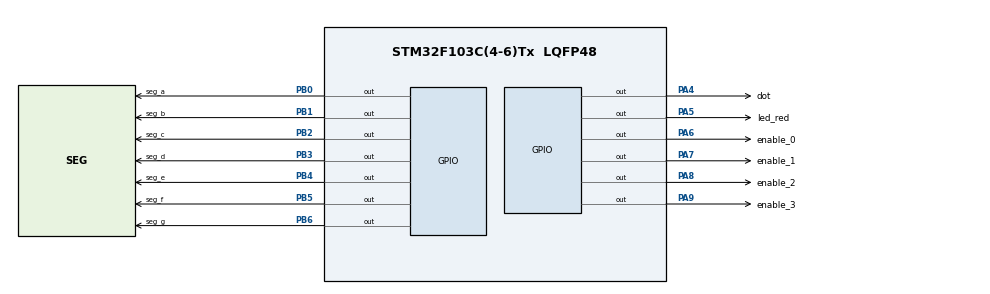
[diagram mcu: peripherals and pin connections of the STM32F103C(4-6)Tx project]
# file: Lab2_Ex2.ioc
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Mcu.Family=STM32F1
Mcu.Name=STM32F103C(4-6)Tx
Mcu.Package=LQFP48
NVIC.PriorityGroup=NVIC_PRIORITYGROUP_4
NVIC.TIM2_IRQn=true\:0\:0\:false\:false\:true\:true\:true
PA4.GPIO_Label=dot
PA4.Signal=GPIO_Output
PA5.GPIO_Label=led_red
PA5.Signal=GPIO_Output
PA6.GPIO_Label=enable_0
PA6.Signal=GPIO_Output
PA7.GPIO_Label=enable_1
PA7.Signal=GPIO_Output
PA8.GPIO_Label=enable_2
PA8.Signal=GPIO_Output
PA9.GPIO_Label=enable_3
PA9.Signal=GPIO_Output
PB0.GPIO_Label=seg_a
PB0.Signal=GPIO_Output
PB1.GPIO_Label=seg_b
PB1.Signal=GPIO_Output
PB2.GPIO_Label=seg_c
PB2.Signal=GPIO_Output
PB3.GPIO_Label=seg_d
PB3.Signal=GPIO_Output
PB4.GPIO_Label=seg_e
PB4.Signal=GPIO_Output
PB5.GPIO_Label=seg_f
PB5.Signal=GPIO_Output
PB6.GPIO_Label=seg_g
PB6.Signal=GPIO_Output
ProjectManager.HeapSize=0x200
ProjectManager.StackSize=0x400
ProjectManager.TargetToolchain=STM32CubeIDE
RCC.APB1Freq_Value=8000000
RCC.APB2Freq_Value=8000000
TIM2.Period=10 - 1
TIM2.Prescaler=8000 - 1
VP_SYS_VS_ND.Mode=No_Debug
VP_TIM2_VS_ClockSourceINT.Mode=Internal
board=custom

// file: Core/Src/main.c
/* USER CODE BEGIN Header */
/**
  ******************************************************************************
  * @file           : main.c
  * @brief          : Main program body
  ******************************************************************************
  * @attention
  *
  * <h2><center>&copy; Copyright (c) 2022 STMicroelectronics.
  * All rights reserved.</center></h2>
  *
  * This software component is licensed by ST under BSD 3-Clause license,
  * the "License"; You may not use this file except in compliance with the
  * License. You may obtain a copy of the License at:
  *                        opensource.org/licenses/BSD-3-Clause
  *
  ******************************************************************************
  */
/* USER CODE END Header */
#include "main.h"

/* USER CODE BEGIN Includes */
#include "software_timer.h"
/* USER CODE END Includes */

TIM_HandleTypeDef htim2;

void SystemClock_Config(void);
static void MX_GPIO_Init(void);
static void MX_TIM2_Init(void);
/* USER CODE BEGIN PFP */

void display7SEG(int num,
		GPIO_TypeDef* a_seg_GPIO_Port, uint16_t a_seg_Pin,
		GPIO_TypeDef* b_seg_GPIO_Port, uint16_t b_seg_Pin,
		GPIO_TypeDef* c_seg_GPIO_Port, uint16_t c_seg_Pin,
		GPIO_TypeDef* d_seg_GPIO_Port, uint16_t d_seg_Pin,
		GPIO_TypeDef* e_seg_GPIO_Port, uint16_t e_seg_Pin,
		GPIO_TypeDef* f_seg_GPIO_Port, uint16_t f_seg_Pin,
		GPIO_TypeDef* g_seg_GPIO_Port, uint16_t g_seg_Pin);

/* USER CODE END PFP */

int main(void)
{

  /* MCU Configuration--------------------------------------------------------*/

  /* Reset of all peripherals, Initializes the Flash interface and the Systick. */
  HAL_Init();

  /* Configure the system clock */
  SystemClock_Config();

  /* Initialize all configured peripherals */
  MX_GPIO_Init();
  MX_TIM2_Init();
  /* USER CODE BEGIN 2 */
  HAL_TIM_Base_Start_IT(&htim2);
  /* USER CODE END 2 */

  /* Infinite loop */
  /* USER CODE BEGIN WHILE */
  Set_timer(100, 0);
  Set_timer(50, 1);
  int enable_trigger = 0;
  int trigger_num = 0;
  while (1)
  {
	  if(timer_flag[0] == 1)
	  {
		  Set_timer(100,0);
		  HAL_GPIO_TogglePin(led_red_GPIO_Port, led_red_Pin);
	  }

	  if(timer_flag[1] == 1)
	  {
		  Set_timer(50,1);
		  switch (enable_trigger)
		  {
			case 0:
				HAL_GPIO_WritePin(enable_0_GPIO_Port, enable_0_Pin, RESET);
				HAL_GPIO_WritePin(enable_1_GPIO_Port, enable_1_Pin, SET);
				HAL_GPIO_WritePin(enable_2_GPIO_Port, enable_2_Pin, SET);
				HAL_GPIO_WritePin(enable_3_GPIO_Port, enable_3_Pin, SET);
				enable_trigger = 1;
				trigger_num = 1;
				break;
			case 1:
				HAL_GPIO_WritePin(enable_0_GPIO_Port, enable_0_Pin, SET);
				HAL_GPIO_WritePin(enable_1_GPIO_Port, enable_1_Pin, RESET);
				HAL_GPIO_WritePin(enable_2_GPIO_Port, enable_2_Pin, SET);
				HAL_GPIO_WritePin(enable_3_GPIO_Port, enable_3_Pin, SET);
				enable_trigger = 2;
				trigger_num = 2;
				break;
			case 2:
				HAL_GPIO_WritePin(enable_0_GPIO_Port, enable_0_Pin, SET);
				HAL_GPIO_WritePin(enable_1_GPIO_Port, enable_1_Pin, SET);
				HAL_GPIO_WritePin(enable_2_GPIO_Port, enable_2_Pin, RESET);
				HAL_GPIO_WritePin(enable_3_GPIO_Port, enable_3_Pin, SET);
				enable_trigger = 3;
				trigger_num = 3;
				break;
			case 3:
				HAL_GPIO_WritePin(enable_0_GPIO_Port, enable_0_Pin, SET);
				HAL_GPIO_WritePin(enable_1_GPIO_Port, enable_1_Pin, SET);
				HAL_GPIO_WritePin(enable_2_GPIO_Port, enable_2_Pin, SET);
				HAL_GPIO_WritePin(enable_3_GPIO_Port, enable_3_Pin, RESET);
				enable_trigger = 0;
				trigger_num = 0;
				break;
			default:
				break;
		  }

		  display7SEG(trigger_num,
				  seg_a_GPIO_Port, seg_a_Pin,
				  seg_b_GPIO_Port, seg_b_Pin,
				  seg_c_GPIO_Port, seg_c_Pin,
				  seg_d_GPIO_Port, seg_d_Pin,
				  seg_e_GPIO_Port, seg_e_Pin,
				  seg_f_GPIO_Port, seg_f_Pin,
				  seg_g_GPIO_Port, seg_g_Pin);

		}
    /* USER CODE END WHILE */

  }
}

void SystemClock_Config(void)
{
  RCC_OscInitTypeDef RCC_OscInitStruct = {0};
  RCC_ClkInitTypeDef RCC_ClkInitStruct = {0};

  /** Initializes the RCC Oscillators according to the specified parameters
  * in the RCC_OscInitTypeDef structure.
  */
  RCC_OscInitStruct.OscillatorType = RCC_OSCILLATORTYPE_HSI;
  RCC_OscInitStruct.HSIState = RCC_HSI_ON;
  RCC_OscInitStruct.HSICalibrationValue = RCC_HSICALIBRATION_DEFAULT;
  RCC_OscInitStruct.PLL.PLLState = RCC_PLL_NONE;
  if (HAL_RCC_OscConfig(&RCC_OscInitStruct) != HAL_OK)
  {
    Error_Handler();
  }
  /** Initializes the CPU, AHB and APB buses clocks
  */
  RCC_ClkInitStruct.ClockType = RCC_CLOCKTYPE_HCLK|RCC_CLOCKTYPE_SYSCLK
                              |RCC_CLOCKTYPE_PCLK1|RCC_CLOCKTYPE_PCLK2;
  RCC_ClkInitStruct.SYSCLKSource = RCC_SYSCLKSOURCE_HSI;
  RCC_ClkInitStruct.AHBCLKDivider = RCC_SYSCLK_DIV1;
  RCC_ClkInitStruct.APB1CLKDivider = RCC_HCLK_DIV1;
  RCC_ClkInitStruct.APB2CLKDivider = RCC_HCLK_DIV1;

  if (HAL_RCC_ClockConfig(&RCC_ClkInitStruct, FLASH_LATENCY_0) != HAL_OK)
  {
    Error_Handler();
  }
}

static void MX_TIM2_Init(void)
{

  TIM_ClockConfigTypeDef sClockSourceConfig = {0};
  TIM_MasterConfigTypeDef sMasterConfig = {0};

  htim2.Instance = TIM2;
  htim2.Init.Prescaler = 8000 - 1;
  htim2.Init.CounterMode = TIM_COUNTERMODE_UP;
  htim2.Init.Period = 10 - 1;
  htim2.Init.ClockDivision = TIM_CLOCKDIVISION_DIV1;
  htim2.Init.AutoReloadPreload = TIM_AUTORELOAD_PRELOAD_DISABLE;
  if (HAL_TIM_Base_Init(&htim2) != HAL_OK)
  {
    Error_Handler();
  }
  sClockSourceConfig.ClockSource = TIM_CLOCKSOURCE_INTERNAL;
  if (HAL_TIM_ConfigClockSource(&htim2, &sClockSourceConfig) != HAL_OK)
  {
    Error_Handler();
  }
  sMasterConfig.MasterOutputTrigger = TIM_TRGO_RESET;
  sMasterConfig.MasterSlaveMode = TIM_MASTERSLAVEMODE_DISABLE;
  if (HAL_TIMEx_MasterConfigSynchronization(&htim2, &sMasterConfig) != HAL_OK)
  {
    Error_Handler();
  }

}

static void MX_GPIO_Init(void)
{
  GPIO_InitTypeDef GPIO_InitStruct = {0};

  /* GPIO Ports Clock Enable */
  __HAL_RCC_GPIOA_CLK_ENABLE();
  __HAL_RCC_GPIOB_CLK_ENABLE();

  /*Configure GPIO pin Output Level */
  HAL_GPIO_WritePin(GPIOA, dot_Pin|led_red_Pin|enable_0_Pin|enable_1_Pin
                          |enable_2_Pin|enable_3_Pin, GPIO_PIN_RESET);

  /*Configure GPIO pin Output Level */
  HAL_GPIO_WritePin(GPIOB, seg_a_Pin|seg_b_Pin|seg_c_Pin|seg_d_Pin
                          |seg_e_Pin|seg_f_Pin|seg_g_Pin, GPIO_PIN_RESET);

  /*Configure GPIO pins : dot_Pin led_red_Pin enable_0_Pin enable_1_Pin
                           enable_2_Pin enable_3_Pin */
  GPIO_InitStruct.Pin = dot_Pin|led_red_Pin|enable_0_Pin|enable_1_Pin
                          |enable_2_Pin|enable_3_Pin;
  GPIO_InitStruct.Mode = GPIO_MODE_OUTPUT_PP;
  GPIO_InitStruct.Pull = GPIO_NOPULL;
  GPIO_InitStruct.Speed = GPIO_SPEED_FREQ_LOW;
  HAL_GPIO_Init(GPIOA, &GPIO_InitStruct);

  /*Configure GPIO pins : seg_a_Pin seg_b_Pin seg_c_Pin seg_d_Pin
                           seg_e_Pin seg_f_Pin seg_g_Pin */
  GPIO_InitStruct.Pin = seg_a_Pin|seg_b_Pin|seg_c_Pin|seg_d_Pin
                          |seg_e_Pin|seg_f_Pin|seg_g_Pin;
  GPIO_InitStruct.Mode = GPIO_MODE_OUTPUT_PP;
  GPIO_InitStruct.Pull = GPIO_NOPULL;
  GPIO_InitStruct.Speed = GPIO_SPEED_FREQ_LOW;
  HAL_GPIO_Init(GPIOB, &GPIO_InitStruct);

}

/* USER CODE BEGIN 4 */
void HAL_TIM_PeriodElapsedCallback(TIM_HandleTypeDef *htim)
{
	Run_timer();
}
void display7SEG(int num,
		GPIO_TypeDef* a_seg_GPIO_Port, uint16_t a_seg_Pin,
		GPIO_TypeDef* b_seg_GPIO_Port, uint16_t b_seg_Pin,
		GPIO_TypeDef* c_seg_GPIO_Port, uint16_t c_seg_Pin,
		GPIO_TypeDef* d_seg_GPIO_Port, uint16_t d_seg_Pin,
		GPIO_TypeDef* e_seg_GPIO_Port, uint16_t e_seg_Pin,
		GPIO_TypeDef* f_seg_GPIO_Port, uint16_t f_seg_Pin,
		GPIO_TypeDef* g_seg_GPIO_Port, uint16_t g_seg_Pin)
{
	switch (num) {
		case 0:
			HAL_GPIO_WritePin(a_seg_GPIO_Port, a_seg_Pin, RESET);
			HAL_GPIO_WritePin(b_seg_GPIO_Port, b_seg_Pin, RESET);
			HAL_GPIO_WritePin(c_seg_GPIO_Port, c_seg_Pin, RESET);
			HAL_GPIO_WritePin(d_seg_GPIO_Port, d_seg_Pin, RESET);
			HAL_GPIO_WritePin(e_seg_GPIO_Port, e_seg_Pin, RESET);
			HAL_GPIO_WritePin(f_seg_GPIO_Port, f_seg_Pin, RESET);
			HAL_GPIO_WritePin(g_seg_GPIO_Port, g_seg_Pin, SET);
			break;
		case 1:
			HAL_GPIO_WritePin(a_seg_GPIO_Port, a_seg_Pin, SET);
			HAL_GPIO_WritePin(b_seg_GPIO_Port, b_seg_Pin, RESET);
			HAL_GPIO_WritePin(c_seg_GPIO_Port, c_seg_Pin, RESET);
			HAL_GPIO_WritePin(d_seg_GPIO_Port, d_seg_Pin, SET);
			HAL_GPIO_WritePin(e_seg_GPIO_Port, e_seg_Pin, SET);
			HAL_GPIO_WritePin(f_seg_GPIO_Port, f_seg_Pin, SET);
			HAL_GPIO_WritePin(g_seg_GPIO_Port, g_seg_Pin, SET);
			break;
		case 2:
			HAL_GPIO_WritePin(a_seg_GPIO_Port, a_seg_Pin, RESET);
			HAL_GPIO_WritePin(b_seg_GPIO_Port, b_seg_Pin, RESET);
			HAL_GPIO_WritePin(c_seg_GPIO_Port, c_seg_Pin, SET);
			HAL_GPIO_WritePin(d_seg_GPIO_Port, d_seg_Pin, RESET);
			HAL_GPIO_WritePin(e_seg_GPIO_Port, e_seg_Pin, RESET);
			HAL_GPIO_WritePin(f_seg_GPIO_Port, f_seg_Pin, SET);
			HAL_GPIO_WritePin(g_seg_GPIO_Port, g_seg_Pin, RESET);
			break;
		case 3:
			HAL_GPIO_WritePin(a_seg_GPIO_Port, a_seg_Pin, RESET);
			HAL_GPIO_WritePin(b_seg_GPIO_Port, b_seg_Pin, RESET);
			HAL_GPIO_WritePin(c_seg_GPIO_Port, c_seg_Pin, RESET);
			HAL_GPIO_WritePin(d_seg_GPIO_Port, d_seg_Pin, RESET);
			HAL_GPIO_WritePin(e_seg_GPIO_Port, e_seg_Pin, SET);
			HAL_GPIO_WritePin(f_seg_GPIO_Port, f_seg_Pin, SET);
			HAL_GPIO_WritePin(g_seg_GPIO_Port, g_seg_Pin, RESET);
			break;
		case 4:
			HAL_GPIO_WritePin(a_seg_GPIO_Port, a_seg_Pin, SET);
			HAL_GPIO_WritePin(b_seg_GPIO_Port, b_seg_Pin, RESET);
			HAL_GPIO_WritePin(c_seg_GPIO_Port, c_seg_Pin, RESET);
			HAL_GPIO_WritePin(d_seg_GPIO_Port, d_seg_Pin, SET);
			HAL_GPIO_WritePin(e_seg_GPIO_Port, e_seg_Pin, SET);
			HAL_GPIO_WritePin(f_seg_GPIO_Port, f_seg_Pin, RESET);
			HAL_GPIO_WritePin(g_seg_GPIO_Port, g_seg_Pin, RESET);
			break;
		case 5:
			HAL_GPIO_WritePin(a_seg_GPIO_Port, a_seg_Pin, RESET);
			HAL_GPIO_WritePin(b_seg_GPIO_Port, b_seg_Pin, SET);
			HAL_GPIO_WritePin(c_seg_GPIO_Port, c_seg_Pin, RESET);
			HAL_GPIO_WritePin(d_seg_GPIO_Port, d_seg_Pin, RESET);
			HAL_GPIO_WritePin(e_seg_GPIO_Port, e_seg_Pin, SET);
			HAL_GPIO_WritePin(f_seg_GPIO_Port, f_seg_Pin, RESET);
			HAL_GPIO_WritePin(g_seg_GPIO_Port, g_seg_Pin, RESET);
			break;
		case 6:
			HAL_GPIO_WritePin(a_seg_GPIO_Port, a_seg_Pin, RESET);
			HAL_GPIO_WritePin(b_seg_GPIO_Port, b_seg_Pin, SET);
			HAL_GPIO_WritePin(c_seg_GPIO_Port, c_seg_Pin, RESET);
			HAL_GPIO_WritePin(d_seg_GPIO_Port, d_seg_Pin, RESET);
			HAL_GPIO_WritePin(e_seg_GPIO_Port, e_seg_Pin, RESET);
			HAL_GPIO_WritePin(f_seg_GPIO_Port, f_seg_Pin, RESET);
			HAL_GPIO_WritePin(g_seg_GPIO_Port, g_seg_Pin, RESET);
			break;
		case 7:
			HAL_GPIO_WritePin(a_seg_GPIO_Port, a_seg_Pin, RESET);
			HAL_GPIO_WritePin(b_seg_GPIO_Port, b_seg_Pin, RESET);
			HAL_GPIO_WritePin(c_seg_GPIO_Port, c_seg_Pin, RESET);
			HAL_GPIO_WritePin(d_seg_GPIO_Port, d_seg_Pin, SET);
			HAL_GPIO_WritePin(e_seg_GPIO_Port, e_seg_Pin, SET);
			HAL_GPIO_WritePin(f_seg_GPIO_Port, f_seg_Pin, SET);
			HAL_GPIO_WritePin(g_seg_GPIO_Port, g_seg_Pin, SET);
			break;
		case 8:
			HAL_GPIO_WritePin(a_seg_GPIO_Port, a_seg_Pin, RESET);
			HAL_GPIO_WritePin(b_seg_GPIO_Port, b_seg_Pin, RESET);
			HAL_GPIO_WritePin(c_seg_GPIO_Port, c_seg_Pin, RESET);
			HAL_GPIO_WritePin(d_seg_GPIO_Port, d_seg_Pin, RESET);
			HAL_GPIO_WritePin(e_seg_GPIO_Port, e_seg_Pin, RESET);
			HAL_GPIO_WritePin(f_seg_GPIO_Port, f_seg_Pin, RESET);
			HAL_GPIO_WritePin(g_seg_GPIO_Port, g_seg_Pin, RESET);
			break;
		case 9:
			HAL_GPIO_WritePin(a_seg_GPIO_Port, a_seg_Pin, RESET);
			HAL_GPIO_WritePin(b_seg_GPIO_Port, b_seg_Pin, RESET);
			HAL_GPIO_WritePin(c_seg_GPIO_Port, c_seg_Pin, RESET);
			HAL_GPIO_WritePin(d_seg_GPIO_Port, d_seg_Pin, RESET);
			HAL_GPIO_WritePin(e_seg_GPIO_Port, e_seg_Pin, SET);
			HAL_GPIO_WritePin(f_seg_GPIO_Port, f_seg_Pin, RESET);
			HAL_GPIO_WritePin(g_seg_GPIO_Port, g_seg_Pin, RESET);
			break;
		default:
			break;
	}
}
/* USER CODE END 4 */

void Error_Handler(void)
{
  __disable_irq();
  while (1)
  {
  }
}

/************************ (C) COPYRIGHT STMicroelectronics *****END OF FILE****/
